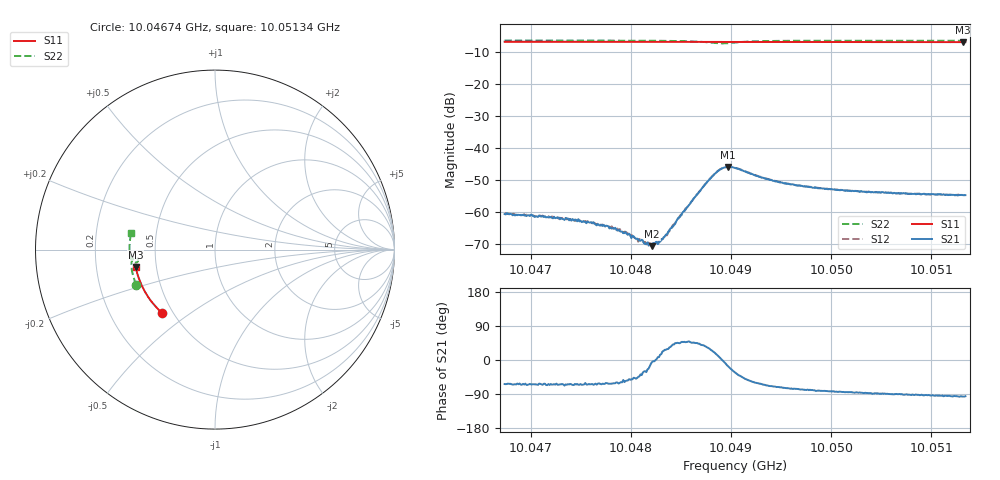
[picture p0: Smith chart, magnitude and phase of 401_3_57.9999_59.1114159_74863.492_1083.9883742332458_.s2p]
#  HZ  S  RI  R  50.00
! Rohde & Schwarz Vector Network Analyzer
! Rohde-Schwarz,ZNB20-2Port,1311601062101988,3.16
! Created: UTC 3/21/2024, 1:08:15 AM
! freq[Hz]  re:S11  im:S11  re:S21  im:S21  re:S12  im:S12  re:S22  im:S22
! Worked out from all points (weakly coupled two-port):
!   401 points, 10.04674 GHz to 10.05134 GHz, reference 50 ohm
!   highest |S21| = -45.93 dB at 10.04897 GHz (marker M1); lowest = -70.7 dB at 10.04821 GHz (marker M2)
!   lowest |S11| = -6.9 dB at 10.05132 GHz (marker M3), VSWR 2.65, Z = 19.1 - j4.65 ohm
!   |S11| at or under -10 dB: nowhere
!   |S22| runs from -7.3 to -6.4 dB; largest |S21 - S12| = 0.00035
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1.0046739e10  -0.2947 -0.3535  0.000413 -0.000825  0.000464 -0.000778  -0.4389 -0.1954
1.0047234e10  -0.3183 -0.3308  0.000363 -0.000746  0.000425 -0.00072  -0.4506 -0.1639
1.004751e10  -0.3307 -0.3175  0.000285 -0.00063  0.000364 -0.000653  -0.4561 -0.1457
1.0047751e10  -0.3413 -0.3055  0.000296 -0.000529  0.000304 -0.000498  -0.4602 -0.1293
1.0047889e10  -0.347 -0.2985  0.000249 -0.000433  0.000319 -0.000433  -0.4624 -0.1195
1.004797e10  -0.3503 -0.2943  0.000257 -0.000354  0.000305 -0.000343  -0.4632 -0.1137
1.0048154e10  -0.3578 -0.2848  0.000271 -0.000169  0.000278 -0.000136  -0.4654 -0.0998
1.0048211e10  -0.36 -0.2818  0.000289 -2.69e-05  0.000298 -2.95e-05  -0.4657 -0.0955
1.004828e10  -0.3627 -0.278  0.000328 4.42e-05  0.000351 8.99e-05  -0.466 -0.0898
1.0048338e10  -0.3649 -0.2748  0.000366 0.000186  0.000374 0.000224  -0.4661 -0.0852
1.0048372e10  -0.3662 -0.273  0.000424 0.000236  0.0004 0.000266  -0.466 -0.082
1.0048545e10  -0.3725 -0.2636  0.000735 0.000789  0.000704 0.000881  -0.4636 -0.0662
1.0048798e10  -0.3813 -0.2494  0.00303 0.00152  0.00292 0.00175  -0.4427 -0.0458
1.004889e10  -0.3842 -0.2443  0.00457 0.000459  0.00458 0.000757  -0.4299 -0.0526
1.004897e10  -0.3869 -0.2401  0.00484 -0.00144  0.00495 -0.00112  -0.4301 -0.066
1.0049039e10  -0.3892 -0.2362  0.00408 -0.00264  0.00429 -0.00239  -0.4395 -0.0724
1.0049442e10  -0.4018 -0.213  0.001 -0.00281  0.00117 -0.0028  -0.4708 -0.0435
1.0049809e10  -0.4123 -0.1911  0.000454 -0.00236  0.000568 -0.00236  -0.4758 -0.0141
1.0050154e10  -0.4207 -0.1702  0.000205 -0.00215  0.00033 -0.00214  -0.4765 0.0109
1.005058e10  -0.4296 -0.1438  7e-06 -0.00198  0.000141 -0.00197  -0.4748 0.0404
1.0051316e10  -0.4416 -0.097  -0.000203 -0.00181  -6.83e-05 -0.00184  -0.468 0.0894
1.0051339e10  -0.4419 -0.0956  -0.000183 -0.00182  -0.000133 -0.00183  -0.4675 0.0909
